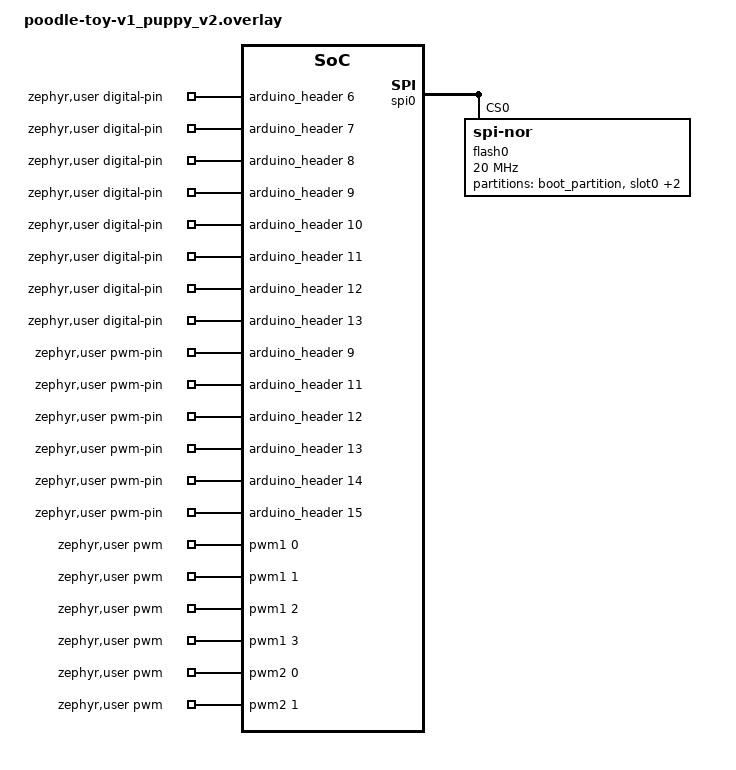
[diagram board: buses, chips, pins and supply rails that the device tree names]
/delete-node/ &flash0;

/ {
	zephyr,user {
		digital-pin-gpios =	<&arduino_header 6 GPIO_ACTIVE_HIGH>,
						<&arduino_header 7 GPIO_ACTIVE_HIGH>,
						<&arduino_header 8 GPIO_ACTIVE_HIGH>,
						<&arduino_header 9 GPIO_ACTIVE_HIGH>,
						<&arduino_header 10 GPIO_ACTIVE_HIGH>,
						<&arduino_header 11 GPIO_ACTIVE_HIGH>,
						<&arduino_header 12 GPIO_ACTIVE_HIGH>,
						<&arduino_header 13 GPIO_ACTIVE_HIGH>,
						<&arduino_header 14 GPIO_ACTIVE_HIGH>,
						<&arduino_header 15 GPIO_ACTIVE_HIGH>,
						<&arduino_header 16 GPIO_ACTIVE_HIGH>,
						<&arduino_header 17 GPIO_ACTIVE_HIGH>,
						<&arduino_header 18 GPIO_ACTIVE_HIGH>,
						<&arduino_header 19 GPIO_ACTIVE_HIGH>,
						<&arduino_header 20 GPIO_ACTIVE_HIGH>,
						<&arduino_header 21 GPIO_ACTIVE_HIGH>,
						<&gpio0 23 GPIO_ACTIVE_HIGH>; /* LED_BUILTIN */

		serials = <&uart0>;
		i2cs = <&i2c0>;
		spis = <&spi0>;

        pwms =  <&pwm1 0 PWM_HZ(490) PWM_POLARITY_NORMAL>,
                <&pwm1 1 PWM_HZ(490) PWM_POLARITY_NORMAL>,
                <&pwm1 2 PWM_HZ(490) PWM_POLARITY_NORMAL>,
                <&pwm1 3 PWM_HZ(490) PWM_POLARITY_NORMAL>,
                <&pwm2 0 PWM_HZ(490) PWM_POLARITY_NORMAL>,
                <&pwm2 1 PWM_HZ(490) PWM_POLARITY_NORMAL>;

        pwm-pin-gpios = <&arduino_header 9 GPIO_ACTIVE_HIGH>,
                        <&arduino_header 11 GPIO_ACTIVE_HIGH>,
                        <&arduino_header 12 GPIO_ACTIVE_HIGH>,
                        <&arduino_header 13 GPIO_ACTIVE_HIGH>,
                        <&arduino_header 14 GPIO_ACTIVE_HIGH>,
                        <&arduino_header 15 GPIO_ACTIVE_HIGH>;
	};
};

&spi0 {
    flash0: flash@0 {
        compatible = "jedec,spi-nor";
        reg = <0>;
        spi-max-frequency = <20000000>;
        size = <DT_SIZE_M(8)>;
        status = "okay";

        partitions {
            compatible = "fixed-partitions";
            #size-cells = <1>;
            #address-cells = <1>;

            boot_partition: partition@0 {
                reg = <0 0x20000>;
                label = "boot_partition";
                read-only;
            };

            slot0_partition: partition@20000 {
                reg = <0x20000 0x2C000>;
                label = "slot0";
            };

            user_sketch: partition@4C000 {
                reg = <0x4C000 0x14000>;
				label = "user_sketch";
            };

            storage_partition: partition@60000 {
                reg = <0x60000 0x20000>;
                label = "storage";
            };
        };
    };
};
